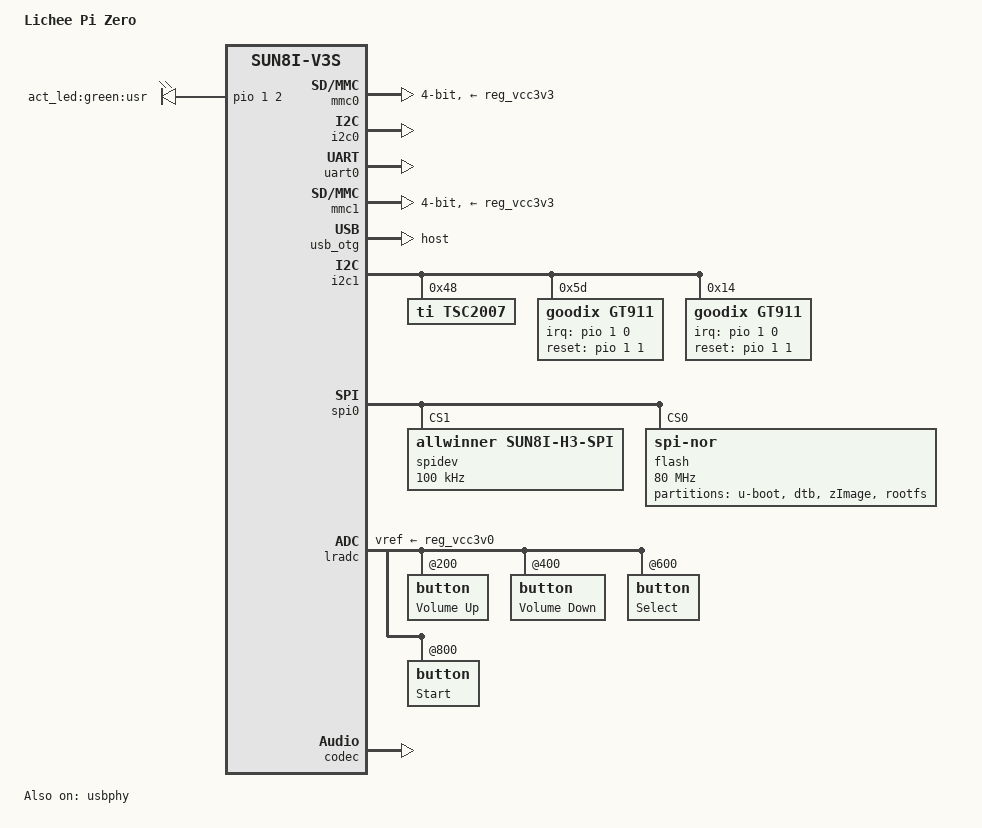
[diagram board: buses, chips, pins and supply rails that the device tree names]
/*
 * Copyright (C) 2016 Icenowy Zheng <icenowy@aosc.xyz>
 *
 * This file is dual-licensed: you can use it either under the terms
 * of the GPL or the X11 license, at your option. Note that this dual
 * licensing only applies to this file, and not this project as a
 * whole.
 *
 *  a) This file is free software; you can redistribute it and/or
 *     modify it under the terms of the GNU General Public License as
 *     published by the Free Software Foundation; either version 2 of the
 *     License, or (at your option) any later version.
 *
 *     This file is distributed in the hope that it will be useful,
 *     but WITHOUT ANY WARRANTY; without even the implied warranty of
 *     MERCHANTABILITY or FITNESS FOR A PARTICULAR PURPOSE.  See the
 *     GNU General Public License for more details.
 *
 * Or, alternatively,
 *
 *  b) Permission is hereby granted, free of charge, to any person
 *     obtaining a copy of this software and associated documentation
 *     files (the "Software"), to deal in the Software without
 *     restriction, including without limitation the rights to use,
 *     copy, modify, merge, publish, distribute, sublicense, and/or
 *     sell copies of the Software, and to permit persons to whom the
 *     Software is furnished to do so, subject to the following
 *     conditions:
 *
 *     The above copyright notice and this permission notice shall be
 *     included in all copies or substantial portions of the Software.
 *
 *     THE SOFTWARE IS PROVIDED "AS IS", WITHOUT WARRANTY OF ANY KIND,
 *     EXPRESS OR IMPLIED, INCLUDING BUT NOT LIMITED TO THE WARRANTIES
 *     OF MERCHANTABILITY, FITNESS FOR A PARTICULAR PURPOSE AND
 *     NONINFRINGEMENT. IN NO EVENT SHALL THE AUTHORS OR COPYRIGHT
 *     HOLDERS BE LIABLE FOR ANY CLAIM, DAMAGES OR OTHER LIABILITY,
 *     WHETHER IN AN ACTION OF CONTRACT, TORT OR OTHERWISE, ARISING
 *     FROM, OUT OF OR IN CONNECTION WITH THE SOFTWARE OR THE USE OR
 *     OTHER DEALINGS IN THE SOFTWARE.
 */

/dts-v1/;
#include "sun8i-v3s.dtsi"
#include "sunxi-common-regulators.dtsi"
#include <dt-bindings/input/input.h>

/ {
    model = "Lichee Pi Zero";
    compatible = "licheepi,licheepi-zero", "allwinner,sun8i-v3s";

    aliases {
        serial0 = &uart0;
        spi0 = &spi0;
    };

    leds {
        compatible = "gpio-leds";

        act_led {
            label = "act_led:green:usr";
            gpios = <&pio 1 2 GPIO_ACTIVE_HIGH>; /* PB2 */
            linux,default-trigger = "mmc0";
            default-state = "off";
        };
    };
};

&mmc0 {
    pinctrl-0 = <&mmc0_pins>;
    pinctrl-names = "default";
    broken-cd;
    bus-width = <4>;
    /**/
    vmmc-supply = <&reg_vcc3v3>;
    /**/
    status = "okay";
};

&i2c0 {
    status = "okay";
};

&uart0 {
    pinctrl-0 = <&uart0_pins_a>;
    pinctrl-names = "default";
    status = "okay";
};


&mmc1 {
    pinctrl-0 = <&mmc1_pins>;
    pinctrl-names = "default";
    broken-cd;
    bus-width = <4>;
    /**/
    vmmc-supply = <&reg_vcc3v3>;
    /**/
    status = "okay";
};


&usb_otg {
    dr_mode = "host";
    status = "okay";
};

&usbphy {
    usb0_id_det-gpio = <&pio 5 6 GPIO_ACTIVE_HIGH>;
    status = "okay";
};


&i2c1 {
    status = "okay";

    tsc2007: tsc2007@48 {
        compatible = "ti,tsc2007";
        reg = <0x48>;
        ti,x-plate-ohms = <400>;
    };


/*
    ns2009: ns2009@48 {
        compatible = "nsiway,ns2009";
        reg = <0x48>;
    };
*/

    gt911@5d {
        compatible = "goodix,gt911";
        reg = <0x5d>;
        interrupt-parent = <&pio>;
        /* interrupts = <21 IRQ_TYPE_NONE>; /* EINT21 (PH21) */
        interrupts = <1 0 IRQ_TYPE_EDGE_FALLING>;
    
        irq-gpios   = <&pio 1 0 GPIO_ACTIVE_HIGH>;
        reset-gpios = <&pio 1 1 GPIO_ACTIVE_HIGH>;
    };

    gt911@14 {
        compatible = "goodix,gt911";
        reg = <0x14>;
        interrupt-parent = <&pio>;
        /*interrupts = <21 IRQ_TYPE_NONE>; /* EINT21 (PH21) */
        interrupts = <1 0 IRQ_TYPE_EDGE_FALLING>;
    
        irq-gpios   = <&pio 1 0 GPIO_ACTIVE_HIGH>;
        reset-gpios = <&pio 1 1 GPIO_ACTIVE_HIGH>;
    };

};


&spi0 {
    status = "okay";

    /**/
    spidev@0 {
        compatible = "allwinner,sun8i-h3-spi";
        reg = <1>;
        spi-max-frequency = <100000>;
        
        #address-cells = <1>;
        #size-cells = <0>;
    };
    /**/

    flash: spiflash@0 {
        compatible = "jedec,spi-nor"; /* "winbond,w25q128"; */
        spi-max-frequency = <80000000>;
        reg = <0>;

        #address-cells = <1>;
        #size-cells = <1>;

        m25p,fast-read;

        /**/
        partition@0 {
            label = "u-boot";
            reg = <0 0x0100000>; //1Mb
        };

        partition@1 {
            label = "dtb";
            reg = <0x0100000 0x0010000>; //64Kb
        };

        partition@2 {
            label = "zImage";
            reg = <0x0110000 0x0400000>; //4Mb
        };

        partition@3 {
            label = "rootfs";
            reg = <0x0510000 0x0af0000>; //11'200Kb = ~11Mb
        };
        /**/
    };
};




&lradc {
    vref-supply = <&reg_vcc3v0>;
    status = "okay";

    button@200 {
        label = "Volume Up";
        linux,code = <KEY_VOLUMEUP>;
        channel = <0>;
        voltage = <200000>;
    };

    button@400 {
        label = "Volume Down";
        linux,code = <KEY_VOLUMEDOWN>;
        channel = <0>;
        voltage = <400000>;
    };

    button@600 {
        label = "Select";
        linux,code = <KEY_SELECT>;
        channel = <0>;
        voltage = <600000>;
    };

    button@800 {
        label = "Start";
        linux,code = <KEY_OK>;
        channel = <0>;
        voltage = <800000>;
    };
};

&codec {
    allwinner,audio-routing = "Headphone", "HP", "Headphone", "HPCOM", "Mic", "MIC1";
    status = "okay";
};
        
&pio {
/*
    rgb_pins: rgb_pins@0 {
            pins = "PE0", "PE1", "PE2", "PE3", "PE4",
               "PE5", "PE6", "PE7", "PE8", "PE9",
               "PE10", "PE11", "PE12", "PE13", "PE14",
               "PE15", "PE16", "PE17", "PE18", "PE19",
               "PE23", "PE24";
            function = "lcd";
        };
*/

    i2c0_pins: i2c0 {
        pins = "PB6", "PB7";
        function = "i2c0";
    };

    i2c1_pins: i2c1 {
        pins = "PE21", "PE22";
        function = "i2c1";
    };
    

    uart0_pins: uart0@0 {
        pins = "PB8", "PB9";
        function = "uart0";
    };

};


